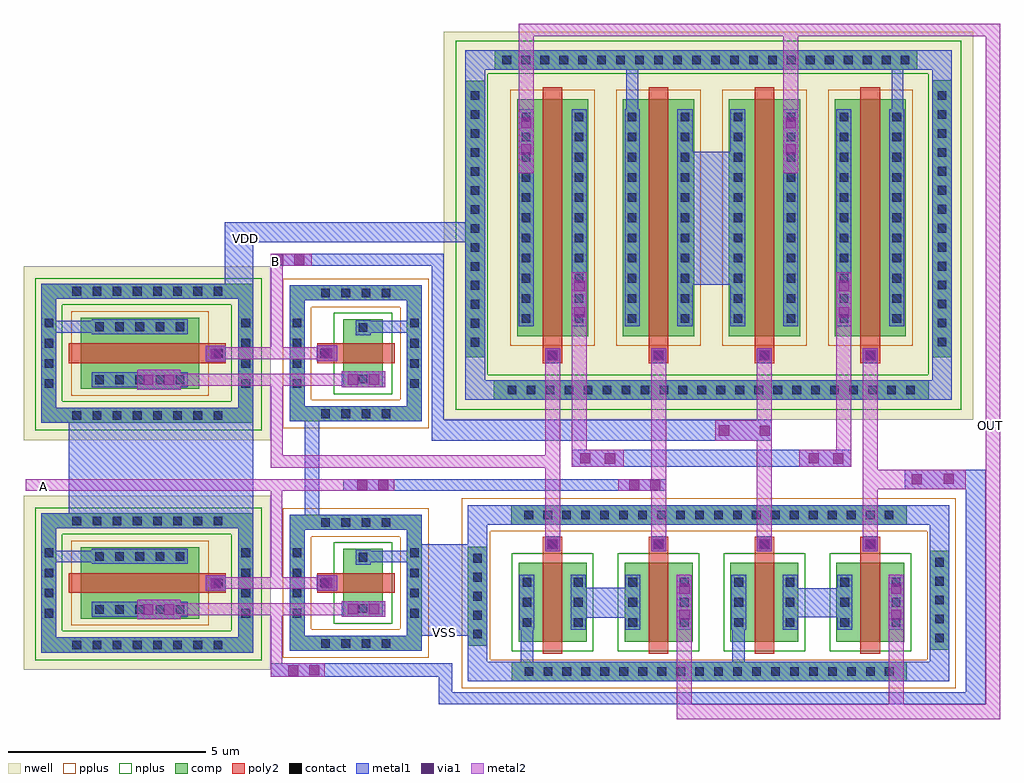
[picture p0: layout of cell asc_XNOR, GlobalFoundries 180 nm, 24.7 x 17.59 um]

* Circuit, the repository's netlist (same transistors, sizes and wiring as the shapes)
** sch_path: /foss/designs/libs/core_analog/asc_XNOR/asc_XNOR.sch
.subckt asc_XNOR VDD VSS OUT A B
*.PININFO VDD:B VSS:B B:B A:B OUT:B
M1 OUT A net1 VSS nfet_03v3 L=0.5u W=2u nf=2 m=1
M2 OUT B net3 VDD pfet_03v3 L=0.5u W=6u nf=2 m=1
M3 net1 Bb VSS VSS nfet_03v3 L=0.5u W=2u nf=2 m=1
M4 net3 A VDD VDD pfet_03v3 L=0.5u W=6u nf=2 m=1
M5 OUT Ab net2 VSS nfet_03v3 L=0.5u W=2u nf=2 m=1
M6 OUT Bb net4 VDD pfet_03v3 L=0.5u W=6u nf=2 m=1
M7 net2 B VSS VSS nfet_03v3 L=0.5u W=2u nf=2 m=1
M8 net4 Ab VDD VDD pfet_03v3 L=0.5u W=6u nf=2 m=1
x1 A VDD Ab VSS inv1u05u
x2 B VDD Bb VSS inv1u05u
.ends

* expanding   symbol:  libs/core_analog/inv1u05u/inv1u05u.sym # of pins=4
** sym_path: /foss/designs/libs/core_analog/inv1u05u/inv1u05u.sym
** sch_path: /foss/designs/libs/core_analog/inv1u05u/inv1u05u.sch
.subckt inv1u05u in vdd out vss
*.PININFO in:B out:B vss:B vdd:B
M1 out in vdd vdd pfet_03v3 L=0.5u W=3.0u nf=1 m=1
M2 out in vss vss nfet_03v3 L=0.5u W=1.0u nf=1 m=1
.ends

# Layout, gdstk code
from math import pi, radians
import gdstk
lib = gdstk.Library(unit=1e-6, precision=5e-09)
def R(c, l, rs):  # rectangles x0, y0, x1, y1
    for r in rs: c.add(gdstk.rectangle(r[:2], r[2:], *l))
def A(c, l, x, y, w, h, nx, ny, dx, dy):  # array of equal rectangles
    R(c, l, [(x+i*dx, y+j*dy, x+i*dx+w, y+j*dy+h) for i in range(nx) for j in range(ny)])
def P(c, l, *ps):  # polygons
    for p in ps: c.add(gdstk.Polygon(p, *l))
nwell = (21, 0)
comp = (22, 0)
poly2 = (30, 0)
pplus = (31, 0)
nplus = (32, 0)
contact = (33, 0)
metal1 = (34, 0)
via1 = (35, 0)
metal2 = (36, 0)

nfet_2 = lib.new_cell('nfet$2')
R(nfet_2, comp, [(-0.42,0,0,2), (0,0,0.88,2), (0.88,0,1.3,2)])
R(nfet_2, poly2, [(0.19,-0.3,0.69,2.3), (0.19,2.3,0.69,2.66)])
R(nfet_2, nplus, [(-0.59,-0.24,1.47,2.24)])
A(nfet_2, contact, -0.32, 0.38, 0.22, 0.22, 1, 3, 0, 0.51)
A(nfet_2, contact, 0.98, 0.38, 0.22, 0.22, 1, 3, 0, 0.51)
R(nfet_2, contact, [(0.33,2.37,0.55,2.59)])
R(nfet_2, metal1, [(-0.4,0.3,-0.02,1.7), (0.9,0.3,1.28,1.7), (0.25,2.29,0.63,2.67)])

pfet_3 = lib.new_cell('pfet$3')
R(pfet_3, nwell, [(-0.9,-0.44,1.78,6.44)])
R(pfet_3, comp, [(-0.46,0,0,6), (0,0,0.88,6), (0.88,0,1.34,6)])
R(pfet_3, poly2, [(0.19,-0.68,0.69,-0.3), (0.19,-0.3,0.69,6.3)])
R(pfet_3, pplus, [(-0.63,-0.24,1.51,6.24)])
A(pfet_3, contact, -0.34, 0.34, 0.22, 0.22, 1, 11, 0, 0.51)
A(pfet_3, contact, 1, 0.34, 0.22, 0.22, 1, 11, 0, 0.51)
R(pfet_3, contact, [(0.33,-0.6,0.55,-0.38)])
R(pfet_3, metal1, [(0.25,-0.68,0.63,-0.3), (-0.42,0.26,-0.04,5.74), (0.92,0.26,1.3,5.74)])

via_dev_1_1 = lib.new_cell('via_dev$1$1')

via_dev_10 = lib.new_cell('via_dev$10')
R(via_dev_10, comp, [(0,0,0.5,10)])
A(via_dev_10, contact, 0.14, 0.33, 0.22, 0.22, 1, 20, 0, 0.48)
R(via_dev_10, metal1, [(0,0,0.5,10)])

via_dev_12 = lib.new_cell('via_dev$12')
R(via_dev_12, comp, [(0,0,0.5,2.5)])
A(via_dev_12, contact, 0.14, 0.18, 0.22, 0.22, 1, 5, 0, 0.48)
R(via_dev_12, metal1, [(0,0,0.5,2.5)])

via_dev_2_1 = lib.new_cell('via_dev$2$1')
R(via_dev_2_1, comp, [(0,0,0.5,11)])
A(via_dev_2_1, contact, 0.14, 0.35, 0.22, 0.22, 1, 22, 0, 0.48)
R(via_dev_2_1, metal1, [(0,0,0.5,11)])

via_dev_3 = lib.new_cell('via_dev$3')
R(via_dev_3, comp, [(0,0,0.5,10.7)])
A(via_dev_3, contact, 0.14, 0.2, 0.22, 0.22, 1, 22, 0, 0.48)
R(via_dev_3, metal1, [(0,0,0.5,10.7)])

via_dev_9 = lib.new_cell('via_dev$9')
R(via_dev_9, comp, [(0,0,0.5,7)])
A(via_dev_9, contact, 0.14, 0.27, 0.22, 0.22, 1, 14, 0, 0.48)
R(via_dev_9, metal1, [(0,0,0.5,7)])

pfet_1 = lib.new_cell('pfet$1')
R(pfet_1, nwell, [(-1.76,-1.81,2.64,4.43)])
R(pfet_1, comp, [(-0.46,0,0,3), (0,0,0.88,3), (0.88,0,1.34,3)])
P(pfet_1, comp, [(-1.32,-1.37),(-1.32,3.61),(-0.94,3.61),(-0.94,-0.99),(1.82,-0.99),(1.82,3.61),(-1.32,3.61),(-1.32,3.99),(2.2,3.99),(2.2,-1.37)])
R(pfet_1, poly2, [(0.19,-0.68,0.69,-0.3), (0.19,-0.3,0.69,3.3)])
R(pfet_1, pplus, [(-0.63,-0.24,1.51,3.24)])
A(pfet_1, contact, -0.435, -1.29, 0.22, 0.22, 4, 2, 0.51, 4.98)
A(pfet_1, contact, -1.24, -0.585, 0.22, 0.22, 1, 8, 0, 0.51)
A(pfet_1, contact, 1.9, -0.585, 0.22, 0.22, 1, 8, 0, 0.51)
A(pfet_1, contact, -0.34, 0.37, 0.22, 0.22, 1, 5, 0, 0.51)
A(pfet_1, contact, 1, 0.37, 0.22, 0.22, 1, 5, 0, 0.51)
R(pfet_1, contact, [(0.33,-0.6,0.55,-0.38)])
R(pfet_1, metal1, [(0.25,-0.68,0.63,-0.3), (-0.42,0.29,-0.04,2.71), (0.92,0.29,1.3,2.71)])

via_dev_4 = lib.new_cell('via_dev$4')
R(via_dev_4, metal1, [(0,0,0.4,0.5)])
R(via_dev_4, via1, [(0.07,0.12,0.33,0.38)])
R(via_dev_4, metal2, [(0,0,0.4,0.5)])

via_dev_5 = lib.new_cell('via_dev$5')
R(via_dev_5, metal1, [(0,0,0.5,1.1)])
R(via_dev_5, via1, [(0.12,0.155,0.38,0.415), (0.12,0.685,0.38,0.945)])
R(via_dev_5, metal2, [(0,0,0.5,1.1)])

via_dev_6 = lib.new_cell('via_dev$6')
R(via_dev_6, metal1, [(0,0,0.4,1.1)])
R(via_dev_6, via1, [(0.07,0.155,0.33,0.415), (0.07,0.685,0.33,0.945)])
R(via_dev_6, metal2, [(0,0,0.4,1.1)])

nfet_3 = lib.new_cell('nfet$3')
R(nfet_3, comp, [(-0.42,0,0,1), (0,0,0.88,1), (0.88,0,1.3,1)])
P(nfet_3, comp, [(-1.28,-0.99),(-1.28,1.98),(-0.9,1.98),(-0.9,-0.61),(1.78,-0.61),(1.78,1.98),(-1.28,1.98),(-1.28,2.36),(2.16,2.36),(2.16,-0.99)])
R(nfet_3, poly2, [(0.19,-0.3,0.69,1.3), (0.19,1.3,0.69,1.66)])
P(nfet_3, pplus, [(-1.45,-1.16),(-1.45,1.81),(-0.73,1.81),(-0.73,-0.44),(1.61,-0.44),(1.61,1.81),(-1.45,1.81),(-1.45,2.53),(2.33,2.53),(2.33,-1.16)])
R(nfet_3, nplus, [(-0.59,-0.24,1.47,1.24)])
A(nfet_3, contact, -0.435, -0.91, 0.22, 0.22, 4, 2, 0.51, 2.97)
A(nfet_3, contact, -1.2, -0.19, 0.22, 0.22, 1, 4, 0, 0.51)
A(nfet_3, contact, 1.86, -0.19, 0.22, 0.22, 1, 4, 0, 0.51)
R(nfet_3, contact, [(-0.32,0.39,-0.1,0.61), (0.98,0.39,1.2,0.61), (0.33,1.37,0.55,1.59)])
R(nfet_3, metal1, [(-0.4,0.31,-0.02,0.69), (0.9,0.31,1.28,0.69), (0.25,1.29,0.63,1.67)])

inv1u05u_1 = lib.new_cell('inv1u05u$1')
R(inv1u05u_1, nplus, [(1.15,4.7,1.82,10.42), (1.15,4.7,5,5.46), (4.26,4.7,5,10.42), (1.15,9.74,5,10.42)])
R(inv1u05u_1, metal1, [(1.33,0.64,1.71,3.61), (1.71,0.64,4.39,1.02), (4.39,0.64,4.77,3.61), (1.33,3.61,4.77,3.99), (1.29,4.91,4.81,5.29), (4.43,4.91,4.81,10.27), (1.29,5.29,1.67,9.89), (1.29,9.89,1.72,10.27), (1.72,9.89,4.43,10.27), (4.43,9.89,4.81,10.27)])
inv1u05u_1.add(gdstk.FlexPath([(2.38,2.02),(2.38,0.72)], 0.3, ends="flush", simple_path=True, layer=34, datatype=0))  # metal1
inv1u05u_1.add(gdstk.FlexPath([(2.38,8.18),(2.38,10.19)], 0.3, ends="flush", simple_path=True, layer=34, datatype=0))  # metal1
inv1u05u_1.add(gdstk.FlexPath([(3.05,5.68),(3.05,2.79)], 0.3, ends="flush", simple_path=True, layer=36, datatype=0))  # metal2
inv1u05u_1.add(gdstk.FlexPath([(3.72,7.16),(3.72,2.13)], 0.3, ends="flush", simple_path=True, layer=36, datatype=0))  # metal2
inv1u05u_1.add(gdstk.Reference(pfet_1, (2.61,6.28)))
inv1u05u_1.add(gdstk.Reference(via_dev_4, (2.86,5.61)))
inv1u05u_1.add(gdstk.Reference(via_dev_5, (3.47,6.75)))
inv1u05u_1.add(gdstk.Reference(via_dev_6, (3.51,1.57)))
inv1u05u_1.add(gdstk.Reference(via_dev_4, (2.85,2.79)))
inv1u05u_1.add(gdstk.Reference(nfet_3, (2.61,1.63)))
inv1u05u_1.add(gdstk.Label('vss', (2.36,1.29), layer=34, texttype=10))
inv1u05u_1.add(gdstk.Label('vdd', (2.38,9.67), layer=34, texttype=10))
inv1u05u_1.add(gdstk.Label('out', (3.72,4.25), layer=36, texttype=10))
inv1u05u_1.add(gdstk.Label('in', (3.05,4.26), layer=36, texttype=10))

asc_xnor = lib.new_cell('asc_XNOR')
R(asc_xnor, nwell, [(15.045,8.5,28.44,18.32)])
R(asc_xnor, pplus, [(15.495,1.71,16.215,6.515), (15.495,1.71,27.995,2.43), (27.275,1.71,27.995,6.515), (15.495,5.68,27.995,6.515)])
R(asc_xnor, nplus, [(15.34,8.755,16.16,18.095), (15.34,8.755,28.135,9.64), (27.3,8.755,28.135,18.095), (15.34,17.25,28.135,18.095)])
R(asc_xnor, metal1, [(14.92,1.295,15.25,2.335), (14.92,1.295,28.75,1.605), (28.25,1.305,28.75,7.235), (15.645,1.88,16.145,2.785), (15.645,1.88,16.755,2.38), (16.985,1.88,17.305,3.55), (22.34,1.88,22.66,3.55), (26.755,1.88,27.83,2.38), (27.335,1.88,27.835,2.685), (10.66,1.995,15.25,2.335), (14.11,3.03,16.145,5.35), (18.32,3.49,19.965,4.245), (23.675,3.505,25.32,4.23), (27.335,5.185,27.835,6.34), (15.645,5.285,16.145,6.34), (11.52,5.71,11.89,8.84), (5.55,5.755,10.22,8.8), (15.645,5.84,16.75,6.34), (26.75,5.84,27.835,6.34), (12.495,6.7,20.665,6.995), (26.7,6.74,28.75,7.235), (18.28,7.31,25.35,7.735), (14.74,7.97,15.045,12.7), (14.74,7.97,23.345,8.495), (15.585,9,16.085,10.08), (15.585,9,16.31,9.5), (27.31,9,27.9,9.5), (27.4,9,27.9,10.085), (9.505,11.56,10.22,13.495), (21.005,11.92,22.675,15.275), (10.66,12.4,15.045,12.7), (9.505,12.995,16.085,13.495), (19.66,15.515,19.96,17.85), (26.37,15.515,26.67,17.85), (15.585,17.08,16.085,17.85), (27.4,17.085,27.9,17.85), (15.585,17.35,16.325,17.85), (27.025,17.35,27.9,17.85)])
A(asc_xnor, via1, 17.665, 5.22, 0.26, 0.26, 4, 2, 2.68, 4.78)
R(asc_xnor, via1, [(11.105,2.025,11.365,2.285), (11.635,2.03,11.895,2.29), (21,3.435,21.26,3.695), (26.36,3.435,26.62,3.695), (21,4.095,21.26,4.355), (26.36,4.095,26.62,4.355), (12.85,6.715,13.11,6.975), (19.73,6.715,19.99,6.975), (13.38,6.72,13.64,6.98), (20.26,6.72,20.52,6.98), (26.88,6.865,27.14,7.125), (27.69,6.875,27.95,7.135), (19.115,7.39,19.375,7.65), (24.895,7.39,25.155,7.65), (18.49,7.395,18.75,7.655), (24.27,7.395,24.53,7.655), (23.035,8.09,23.295,8.35), (22.005,8.1,22.265,8.36), (18.345,11.09,18.605,11.35), (25.035,11.09,25.295,11.35), (18.345,11.75,18.605,12.01), (25.035,11.75,25.295,12.01), (10.725,12.42,10.985,12.68), (11.255,12.425,11.515,12.685), (17,15.215,17.26,15.475), (23.69,15.215,23.95,15.475), (17,15.875,17.26,16.135), (23.69,15.875,23.95,16.135)])
A(asc_xnor, metal2, 17.605, 5.17, 0.38, 5.14, 4, 1, 2.68, 0)
R(asc_xnor, metal2, [(20.935,0.925,21.315,4.58), (20.935,0.925,29.115,1.295), (26.295,0.925,26.675,4.58), (28.75,0.925,29.115,18.515), (10.66,1.995,10.95,3.85), (10.66,1.995,12.025,2.335), (10.66,4.22,10.95,6.995), (4.47,6.7,13.785,6.995), (19.455,6.7,20.665,6.995), (25.645,6.74,28.25,7.235), (10.66,7.285,10.97,9.66), (10.71,7.285,17.985,7.595), (18.28,7.31,18.66,12.235), (18.28,7.31,19.59,7.735), (24.03,7.31,25.35,7.735), (24.97,7.31,25.35,12.235), (21.91,7.965,23.345,8.49), (10.66,10.03,10.97,12.7), (10.66,12.4,11.7,12.7), (16.935,14.74,17.315,18.515), (23.635,14.74,24.015,18.515), (16.94,18.205,29.115,18.515)])
asc_xnor.add(gdstk.Reference(nfet_2, (20.035,2.88)))
asc_xnor.add(gdstk.Reference(pfet_3, (17.355,10.61)))
asc_xnor.add(gdstk.Reference(nfet_2, (17.355,2.88)))
asc_xnor.add(gdstk.Reference(pfet_3, (25.395,10.61)))
asc_xnor.add(gdstk.Reference(nfet_2, (25.395,2.88)))
asc_xnor.add(gdstk.Reference(pfet_3, (22.715,10.61)))
asc_xnor.add(gdstk.Reference(nfet_2, (22.715,2.88)))
asc_xnor.add(gdstk.Reference(via_dev_1_1, (16.145,1.635), rotation=pi/2))
asc_xnor.add(gdstk.Reference(via_dev_10, (26.755,1.88), rotation=pi/2))
asc_xnor.add(gdstk.Reference(via_dev_10, (26.75,5.84), rotation=pi/2))
asc_xnor.add(gdstk.Reference(via_dev_12, (16.145,5.285), rotation=pi))
asc_xnor.add(gdstk.Reference(via_dev_12, (27.835,5.185), rotation=pi))
asc_xnor.add(gdstk.Reference(via_dev_2_1, (27.31,9), rotation=pi/2))
asc_xnor.add(gdstk.Reference(via_dev_3, (27.025,17.35), rotation=pi/2))
asc_xnor.add(gdstk.Reference(via_dev_9, (16.085,17.08), rotation=pi))
asc_xnor.add(gdstk.Reference(via_dev_9, (27.9,17.085), rotation=pi))
asc_xnor.add(gdstk.Reference(pfet_3, (20.035,10.61)))
asc_xnor.add(gdstk.Reference(inv1u05u_1, (15.13,7.42), rotation=3*pi/2, x_reflection=True))
asc_xnor.add(gdstk.Reference(inv1u05u_1, (15.13,13.23), rotation=3*pi/2, x_reflection=True))
asc_xnor.add(gdstk.Label('VDD', (10.03,13.095), layer=34, texttype=10))
asc_xnor.add(gdstk.Label('VSS', (15.05,3.115), layer=34, texttype=10))
asc_xnor.add(gdstk.Label('A', (4.91,6.82), layer=36, texttype=10))
asc_xnor.add(gdstk.Label('B', (10.795,12.5), layer=36, texttype=10))
asc_xnor.add(gdstk.Label('OUT', (28.885,8.365), layer=36, texttype=10))

lib.write_gds('asc_XNOR.gds')
